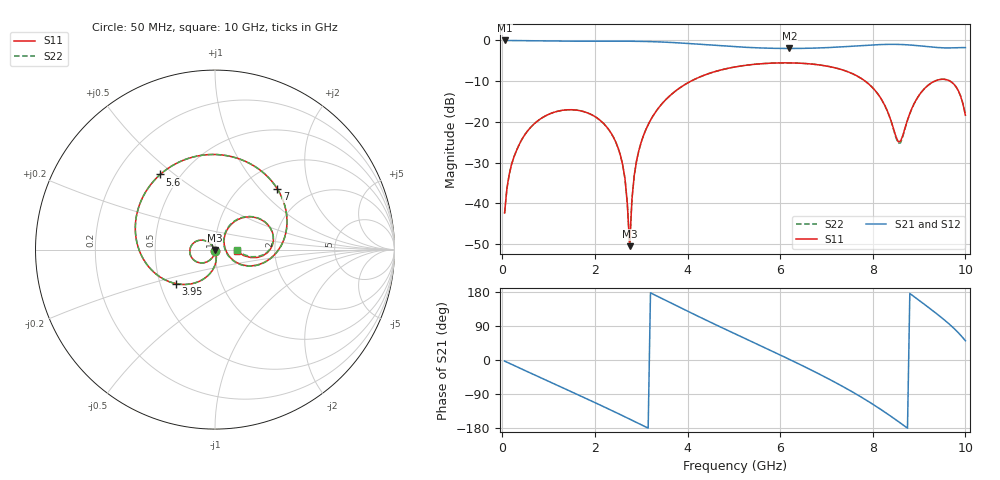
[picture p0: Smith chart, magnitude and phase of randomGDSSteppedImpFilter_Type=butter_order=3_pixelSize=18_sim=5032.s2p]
! freq	dB(S11)	phase(S11)	dB(S12)	phase(S12)
!  dB(S21)	phase(S21)	dB(S22)	phase(S22)
!S-par simulation data
#  GHz  S  DB  R 50
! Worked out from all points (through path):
!   200 points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, 50 MHz to 10 GHz, reference 50 ohm
!   highest |S21| = 0.00 dB at 50 MHz (marker M1); lowest = -2.0 dB at 6.2 GHz (marker M2)
!   group delay of S21, straight-line fit = 175 ps
!   lowest |S11| = -50.5 dB at 2.75 GHz (marker M3), VSWR 1.01, Z = 49.8 - j0.175 ohm
!   |S11| at or under -10 dB: start of sweep to 4.074 GHz; 7.836 GHz to 9.337 GHz (1.501 GHz wide, 17.5 % of centre); 9.668 GHz to end of sweep
!   |S22| runs from -50.3 to -5.5 dB; largest |S21 - S12| = 0
!   S11 on the Smith chart (normalised r, x): 50 MHz: 1.00, -0.02; 3.95 GHz: 0.60, -0.25; 5.6 GHz: 0.39, +0.45; 7 GHz: 1.41, +1.25; 10 GHz: 1.27, -0.02
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0.05  -42.38 -92.1  -0.00 -2.9  -0.00 -2.9  -42.38 -92.1
0.2  -30.45 -100.3  -0.03 -11.4  -0.03 -11.4  -30.45 -100.3
0.55  -22.17 -121.7  -0.07 -31.1  -0.07 -31.1  -22.17 -121.7
1.75  -17.46 171.1  -0.19 -98.3  -0.19 -98.3  -17.46 171.1
2.5  -26.38 129.1  -0.18 -141.2  -0.18 -141.2  -26.38 129.3
2.65  -34.03 122.4  -0.18 -150.0  -0.18 -150.0  -34.02 122.9
2.75  -50.53 -143.6  -0.19 -155.9  -0.19 -155.9  -50.32 -144.3
2.8  -38.97 -76.3  -0.20 -158.9  -0.20 -158.9  -38.96 -77.3
2.9  -29.54 -77.9  -0.21 -164.8  -0.21 -164.8  -29.54 -78.2
3.4  -16.21 -106.2  -0.36 165.0  -0.36 165.0  -16.21 -106.3
3.95  -10.79 -139.0  -0.70 131.9  -0.70 131.9  -10.79 -139.0
5.05  -6.46 157.3  -1.56 67.6  -1.56 67.6  -6.46 157.2
5.6  -5.71 126.1  -1.85 36.3  -1.85 36.3  -5.71 126.0
6.2  -5.51 91.8  -1.97 1.7  -1.97 1.7  -5.51 91.7
6.7  -5.82 62.4  -1.90 -28.2  -1.90 -28.2  -5.82 62.3
7  -6.29 44.3  -1.77 -46.9  -1.77 -46.9  -6.29 44.2
7.75  -9.32 -2.9  -1.27 -97.8  -1.27 -97.8  -9.32 -3.2
8.35  -18.31 -30.5  -0.96 -145.0  -0.96 -145.0  -18.39 -31.5
8.6  -24.76 26.1  -0.99 -166.6  -0.99 -166.6  -25.15 26.9
9.05  -12.69 49.6  -1.37 152.9  -1.37 152.9  -12.71 50.4
9.65  -9.87 4.4  -1.84 94.9  -1.84 94.9  -9.87 5.2
10  -18.37 -4.0  -1.77 50.8  -1.77 50.8  -18.12 -2.0
